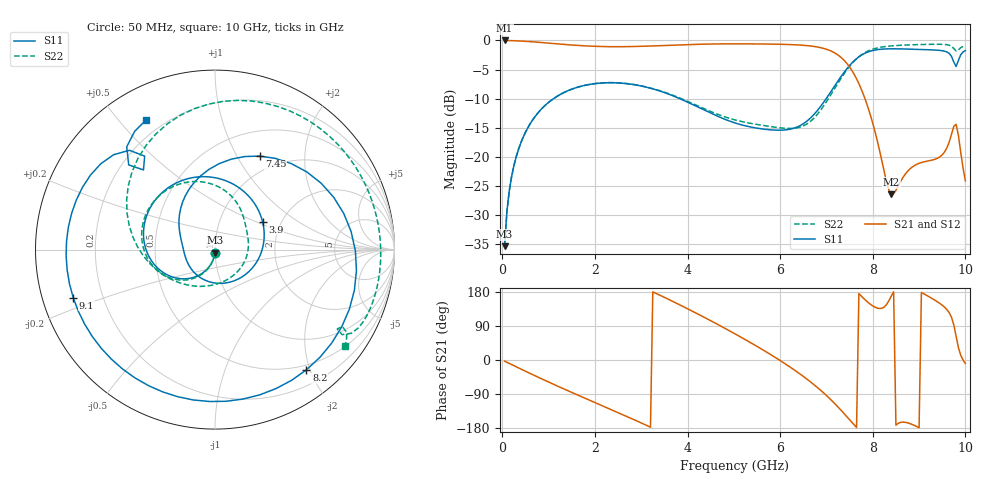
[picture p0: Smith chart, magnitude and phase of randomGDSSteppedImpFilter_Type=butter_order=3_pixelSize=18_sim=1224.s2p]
! freq	dB(S11)	phase(S11)	dB(S12)	phase(S12)
!  dB(S21)	phase(S21)	dB(S22)	phase(S22)
!S-par simulation data
#  GHz  S  DB  R 50
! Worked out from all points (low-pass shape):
!   200 points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, 50 MHz to 10 GHz, reference 50 ohm
!   highest |S21| = -0.01 dB at 50 MHz (marker M1); lowest = -26.4 dB at 8.4 GHz (marker M2)
!   |S21| within 3 dB of the highest: start of sweep to 7.327 GHz
!   lowest |S11| = -35.4 dB at 50 MHz (marker M3), VSWR 1.03, Z = 49.9 - j1.7 ohm
!   |S11| at or under -10 dB: start of sweep to 1.107 GHz; 3.831 GHz to 6.994 GHz (3.163 GHz wide, 58.4 % of centre)
!   |S22| runs from -35.4 to -0.7 dB; largest |S21 - S12| = 0
!   S11 on the Smith chart (normalised r, x): 50 MHz: 1.00, -0.03; 3.9 GHz: 1.60, +0.55; 7.45 GHz: 0.80, +1.25; 8.2 GHz: 0.42, -1.94; 9.1 GHz: 0.09, -0.16; 10 GHz: 0.14, +0.59
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0.05  -35.35 -92.7  -0.01 -3.0  -0.01 -3.0  -35.35 -92.6
0.2  -23.44 -102.5  -0.04 -12.0  -0.04 -12.0  -23.44 -102.0
0.5  -15.80 -120.8  -0.15 -29.6  -0.15 -29.6  -15.78 -119.4
1.75  -7.78 167.4  -0.92 -98.9  -0.92 -98.9  -7.77 173.7
2.65  -7.40 115.9  -1.07 -146.8  -1.07 -146.8  -7.37 129.7
3.4  -8.69 67.7  -0.90 171.2  -0.90 171.2  -8.63 94.7
3.9  -10.24 30.6  -0.75 141.4  -0.75 141.4  -10.12 73.0
4.5  -12.50 -21.1  -0.62 103.7  -0.62 103.7  -12.22 50.5
5.05  -14.24 -74.1  -0.58 67.3  -0.58 67.3  -13.71 31.3
5.95  -15.43 -155.2  -0.65 2.5  -0.65 2.5  -14.97 -18.1
6.7  -12.97 151.8  -1.00 -62.1  -1.00 -62.1  -13.58 -103.8
7.05  -9.35 119.2  -1.66 -99.5  -1.66 -99.5  -9.90 -153.8
7.45  -4.78 64.5  -4.05 -150.8  -4.05 -150.8  -4.96 150.6
7.85  -2.13 -0.5  -10.42 157.0  -10.42 157.0  -2.01 98.3
8.2  -1.50 -52.8  -20.85 136.7  -20.85 136.7  -1.13 61.7
8.35  -1.44 -73.0  -25.77 156.9  -25.77 156.9  -0.98 48.8
8.4  -1.44 -79.4  -26.43 168.8  -26.43 168.8  -0.94 44.9
8.7  -1.48 -116.1  -22.99 -164.4  -22.99 -164.4  -0.80 23.6
9.1  -1.58 -161.3  -20.87 174.9  -20.87 174.9  -0.69 0.1
9.6  -1.98 143.1  -18.46 133.3  -18.46 133.3  -0.73 -25.8
9.8  -4.49 131.9  -14.42 62.5  -14.42 62.5  -1.81 -33.0
10  -1.75 118.2  -24.12 -9.3  -24.12 -9.3  -0.91 -36.7
